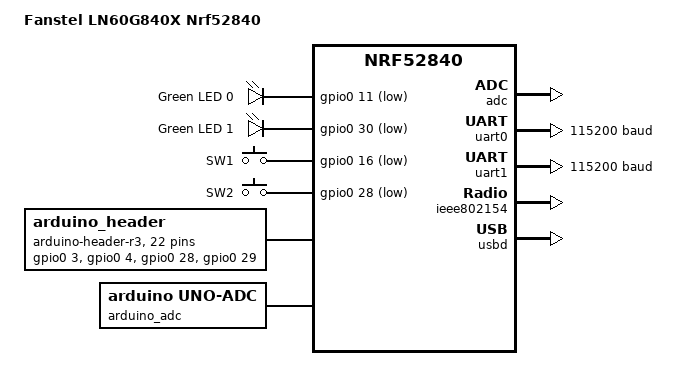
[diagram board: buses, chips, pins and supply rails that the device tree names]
/*
 * Copyright (c) 2017 Linaro Limited
 *
 * SPDX-License-Identifier: Apache-2.0
 */

/dts-v1/;
#include <nordic/nrf52840_qiaa.dtsi>
#include "nrf52840_ln60g840x_pinctrl.dtsi"

/ {
	model = "Fanstel LN60G840X Nrf52840";
	compatible = "fanstel,ln60g840x";

	chosen {
		zephyr,console = &uart0;
		zephyr,shell-uart = &uart0;
		zephyr,uart-mcumgr = &uart0;
		zephyr,bt-mon-uart = &uart0;
		zephyr,bt-c2h-uart = &uart0;
		zephyr,sram = &sram0;
		zephyr,flash = &flash0;
		zephyr,code-partition = &slot0_partition;
		zephyr,ieee802154 = &ieee802154;
	};

	leds {
		compatible = "gpio-leds";
		led0: led_0 {
			gpios = <&gpio0 11 GPIO_ACTIVE_LOW>;
			label = "Green LED 0";
		};
		led1: led_1 {
			gpios = <&gpio0 30 GPIO_ACTIVE_LOW>;
			label = "Green LED 1";
		};
	};


	buttons {
		compatible = "gpio-keys";
		button0: button_0 {
			gpios = <&gpio0 16 (GPIO_PULL_UP | GPIO_ACTIVE_LOW)>;
			label = "SW1";
		};
		button1: button_1 {
			gpios = <&gpio0 28 (GPIO_PULL_UP | GPIO_ACTIVE_LOW)>;
			label = "SW2";
		};
	};

	arduino_header: connector {
		compatible = "arduino-header-r3";
		#gpio-cells = <2>;
		gpio-map-mask = <0xffffffff 0xffffffc0>;
		gpio-map-pass-thru = <0 0x3f>;
		gpio-map = <0 0 &gpio0 3 0>,	/* A0 */
			   <1 0 &gpio0 4 0>,	/* A1 */
			   <2 0 &gpio0 28 0>,	/* A2 */
			   <3 0 &gpio0 29 0>,	/* A3 */
			   <4 0 &gpio0 30 0>,	/* A4 */
			   <5 0 &gpio0 31 0>,	/* A5 */
			   <6 0 &gpio1 1 0>,	/* D0 */
			   <7 0 &gpio1 2 0>,	/* D1 */
			   <8 0 &gpio1 3 0>,	/* D2 */
			   <9 0 &gpio1 4 0>,	/* D3 */
			   <10 0 &gpio1 5 0>,	/* D4 */
			   <11 0 &gpio1 6 0>,	/* D5 */
			   <12 0 &gpio1 7 0>,	/* D6 */
			   <13 0 &gpio1 8 0>,	/* D7 */
			   <14 0 &gpio1 10 0>,	/* D8 */
			   <15 0 &gpio1 11 0>,	/* D9 */
			   <16 0 &gpio1 12 0>,	/* D10 */
			   <17 0 &gpio1 13 0>,	/* D11 */
			   <18 0 &gpio1 14 0>,	/* D12 */
			   <19 0 &gpio1 15 0>,	/* D13 */
			   <20 0 &gpio0 26 0>,	/* D14 */
			   <21 0 &gpio0 27 0>;	/* D15 */
	};

	arduino_adc: analog-connector {
		compatible = "arduino,uno-adc";
		#io-channel-cells = <1>;
		io-channel-map = <0 &adc 1>,	/* A0 = P0.3 = AIN1 */
				 <1 &adc 2>,	/* A1 = P0.4 = AIN2 */
				 <2 &adc 4>,	/* A2 = P0.28 = AIN4 */
				 <3 &adc 5>,	/* A3 = P0.29 = AIN5 */
				 <4 &adc 6>,	/* A4 = P0.30 = AIN6 */
				 <5 &adc 7>;	/* A5 = P0.31 = AIN7 */
	};

	/* These aliases are provided for compatibility with samples */
	aliases {
		led0 = &led0;
		led1 = &led1;
		sw0 = &button0;
		sw1 = &button1;
		bootloader-led0 = &led0;
		mcuboot-button0 = &button0;
		mcuboot-led0 = &led0;
		watchdog0 = &wdt0;
        uart0 = &uart0;
        uart1 = &uart1;
	};
};

&adc {
	status = "okay";
};

&gpiote {
	status = "okay";
};

&gpio0 {
	status = "okay";
};

&gpio1 {
	status = "okay";
};

&uart0 {
	compatible = "nordic,nrf-uarte";
	status = "okay";
	current-speed = <115200>;
	pinctrl-0 = <&uart0_default>;
	pinctrl-1 = <&uart0_sleep>;
	pinctrl-names = "default", "sleep";
};

arduino_serial: &uart1 {
	status = "okay";
	current-speed = <115200>;
	pinctrl-0 = <&uart1_default>;
	pinctrl-1 = <&uart1_sleep>;
	pinctrl-names = "default", "sleep";
};

&ieee802154 {
	status = "okay";
};

&flash0 {

	partitions {
		compatible = "fixed-partitions";
		#address-cells = <1>;
		#size-cells = <1>;

		boot_partition: partition@0 {
			label = "mcuboot";
			reg = <0x00000000 0x0000C000>;
		};
		slot0_partition: partition@c000 {
			label = "image-0";
			reg = <0x0000C000 0x00067000>;
		};
		slot1_partition: partition@73000 {
			label = "image-1";
			reg = <0x00073000 0x00067000>;
		};
		scratch_partition: partition@da000 {
			label = "image-scratch";
			reg = <0x000da000 0x0001e000>;
		};

		/*
		 * The flash starting at 0x000f8000 and ending at
		 * 0x000fffff is reserved for use by the application.
		 */

		/*
		 * Storage partition will be used by FCB/LittleFS/NVS
		 * if enabled.
		 */
		storage_partition: partition@f8000 {
			label = "storage";
			reg = <0x000f8000 0x00008000>;
		};
	};
};

zephyr_udc0: &usbd {
	compatible = "nordic,nrf-usbd";
	status = "okay";
};
